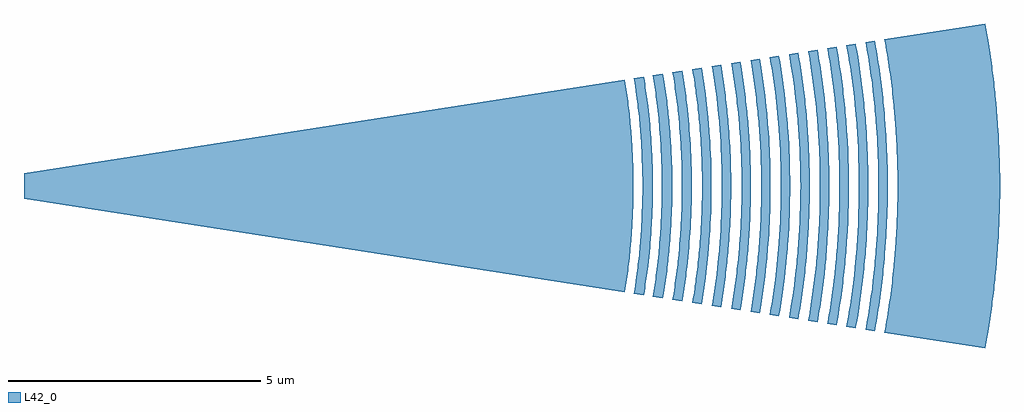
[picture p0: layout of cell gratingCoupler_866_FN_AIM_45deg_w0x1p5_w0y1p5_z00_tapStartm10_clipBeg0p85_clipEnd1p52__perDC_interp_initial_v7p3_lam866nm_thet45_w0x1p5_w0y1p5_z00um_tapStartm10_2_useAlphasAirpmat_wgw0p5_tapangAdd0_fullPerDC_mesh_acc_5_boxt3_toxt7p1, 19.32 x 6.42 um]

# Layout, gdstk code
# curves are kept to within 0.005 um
import gdstk
lib = gdstk.Library(unit=1e-6, precision=1e-09)
def P(c, l, *ps):  # polygons
    for p in ps: c.add(gdstk.Polygon(p, *l))
L42_0 = (42, 0)

gratingcoupler_866_fn_ai = lib.new_cell('gratingCoupler_866_FN_AIM_45deg_w0x1p5_w0y1p5_z00_tapStartm10_clipBeg0p85_clipEnd1p52__perDC_interp_initial_v7p3_lam866nm_thet45_w0x1p5_w0y1p5_z00um_tapStartm10_2_useAlphasAirpmat_wgw0p5_tapangAdd0_fullPerDC_mesh_acc_5_boxt3_toxt7p1')
P(gratingcoupler_866_fn_ai, L42_0, [(11.889,-2.101),(0,-0.25),(0,0.25),(11.889,2.101),(11.954,1.672),(12.007,1.186),(12.048,0.578),(12.06,0.091),(12.056,-0.334),(12.027,-0.942),(11.969,-1.55)],
  [(12.267,-2.159),(12.067,-2.128),(12.136,-1.672),(12.2,-1.064),(12.23,-0.578),(12.242,-0.091),(12.23,0.578),(12.2,1.064),(12.136,1.672),(12.067,2.128),(12.267,2.159),(12.35,1.583),(12.395,1.148),(12.431,0.59),(12.443,0.155),(12.438,-0.404),(12.405,-1.024),(12.35,-1.583)],
  [(12.645,-2.218),(12.442,-2.187),(12.523,-1.645),(12.575,-1.148),(12.611,-0.59),(12.624,-0.031),(12.611,0.59),(12.575,1.148),(12.523,1.645),(12.442,2.187),(12.645,2.218),(12.717,1.743),(12.778,1.172),(12.818,0.539),(12.828,0.095),(12.818,-0.539),(12.788,-1.046),(12.725,-1.679)],
  [(13.027,-2.278),(12.833,-2.247),(12.901,-1.806),(12.971,-1.172),(13.008,-0.602),(13.021,-0.095),(13.008,0.602),(12.971,1.172),(12.901,1.806),(12.833,2.247),(13.027,2.278),(13.093,1.843),(13.164,1.196),(13.199,0.679),(13.215,0.097),(13.202,-0.614),(13.164,-1.196),(13.093,-1.843)],
  [(13.41,-2.337),(13.227,-2.309),(13.306,-1.778),(13.369,-1.196),(13.404,-0.679),(13.42,-0.097),(13.407,0.614),(13.369,1.196),(13.306,1.778),(13.227,2.309),(13.41,2.337),(13.488,1.814),(13.552,1.22),(13.584,0.759),(13.604,0.099),(13.596,-0.495),(13.552,-1.22),(13.488,-1.814)],
  [(13.793,-2.397),(13.613,-2.369),(13.688,-1.88),(13.755,-1.286),(13.793,-0.759),(13.813,-0.033),(13.802,0.561),(13.766,1.154),(13.705,1.748),(13.613,2.369),(13.793,2.397),(13.884,1.783),(13.946,1.177),(13.983,0.572),(13.994,0.034),(13.983,-0.572),(13.946,-1.177),(13.884,-1.783)],
  [(14.176,-2.456),(13.997,-2.429),(14.094,-1.783),(14.144,-1.312),(14.187,-0.706),(14.204,-0.101),(14.193,0.572),(14.156,1.177),(14.094,1.783),(13.997,2.429),(14.176,2.456),(14.271,1.817),(14.335,1.2),(14.375,0.514),(14.384,0.034),(14.375,-0.514),(14.335,-1.2),(14.271,-1.817)],
  [(14.559,-2.516),(14.379,-2.488),(14.488,-1.749),(14.543,-1.2),(14.583,-0.514),(14.592,-0.034),(14.583,0.514),(14.543,1.2),(14.488,1.749),(14.379,2.488),(14.559,2.516),(14.649,1.922),(14.718,1.293),(14.759,0.664),(14.773,0.105),(14.759,-0.664),(14.718,-1.293),(14.649,-1.922)],
  [(14.941,-2.576),(14.76,-2.547),(14.856,-1.922),(14.918,-1.363),(14.962,-0.734),(14.979,-0.175),(14.973,0.454),(14.93,1.223),(14.865,1.852),(14.76,2.547),(14.941,2.576),(15.036,1.957),(15.099,1.388),(15.144,0.747),(15.162,0.107),(15.153,-0.534),(15.117,-1.174),(15.054,-1.815),(14.996,-2.242)],
  [(15.323,-2.635),(15.14,-2.607),(15.231,-2.029),(15.31,-1.317),(15.352,-0.676),(15.367,-0.036),(15.355,0.605),(15.31,1.317),(15.231,2.029),(15.14,2.607),(15.323,2.635),(15.412,2.066),(15.486,1.413),(15.532,0.761),(15.55,0.109),(15.541,-0.544),(15.499,-1.268),(15.431,-1.921)],
  [(15.704,-2.694),(15.519,-2.666),(15.614,-2.066),(15.688,-1.413),(15.734,-0.761),(15.752,-0.109),(15.743,0.544),(15.701,1.268),(15.633,1.921),(15.583,2.283),(15.519,2.666),(15.704,2.694),(15.816,1.955),(15.872,1.439),(15.919,0.775),(15.937,0.111),(15.928,-0.553),(15.885,-1.291),(15.816,-1.955)],
  [(16.083,-2.753),(15.898,-2.725),(15.997,-2.102),(16.079,-1.365),(16.119,-0.775),(16.138,-0.037),(16.133,0.406),(16.119,0.775),(16.079,1.365),(15.997,2.102),(15.898,2.725),(16.083,2.753),(16.19,2.064),(16.257,1.464),(16.308,0.713),(16.324,0.038),(16.314,-0.563),(16.27,-1.314),(16.19,-2.064)],
  [(16.461,-2.812),(16.277,-2.784),(16.347,-2.364),(16.399,-1.989),(16.47,-1.314),(16.508,-0.713),(16.523,-0.113),(16.514,0.563),(16.47,1.314),(16.399,1.989),(16.347,2.364),(16.277,2.784),(16.461,2.812),(16.572,2.1),(16.654,1.336),(16.696,0.649),(16.709,0.038),(16.696,-0.649),(16.654,-1.336),(16.572,-2.1)],
  [(16.838,-2.871),(16.655,-2.842),(16.762,-2.176),(16.826,-1.642),(16.881,-0.954),(16.899,-0.573),(16.908,-0.115),(16.899,0.573),(16.854,1.336),(16.818,1.718),(16.762,2.176),(16.655,2.842),(16.838,2.871),(16.943,2.213),(17.016,1.592),(17.049,1.203),(17.076,0.738),(17.092,0.116),(17.085,-0.505),(17.064,-0.97),(17.037,-1.359),(17,-1.747),(16.943,-2.213)],
  [(19.024,-3.211),(17.029,-2.9),(17.15,-2.135),(17.212,-1.592),(17.269,-0.815),(17.289,-0.039),(17.276,0.66),(17.233,1.359),(17.15,2.135),(17.029,2.9),(19.024,3.211),(19.13,2.562),(19.19,2.108),(19.232,1.719),(19.294,0.876),(19.315,0.162),(19.312,-0.357),(19.3,-0.746),(19.25,-1.524),(19.166,-2.303),(19.101,-2.757)])

lib.write_gds('gratingCoupler_866_FN_AIM_45deg_w0x1p5_w0y1p5_z00_tapStartm10_clipBeg0p85_clipEnd1p52__perDC_interp_initial_v7p3_lam866nm_thet45_w0x1p5_w0y1p5_z00um_tapStartm10_2_useAlphasAirpmat_wgw0p5_tapangAdd0_fullPerDC_mesh_acc_5_boxt3_toxt7p1.gds')
